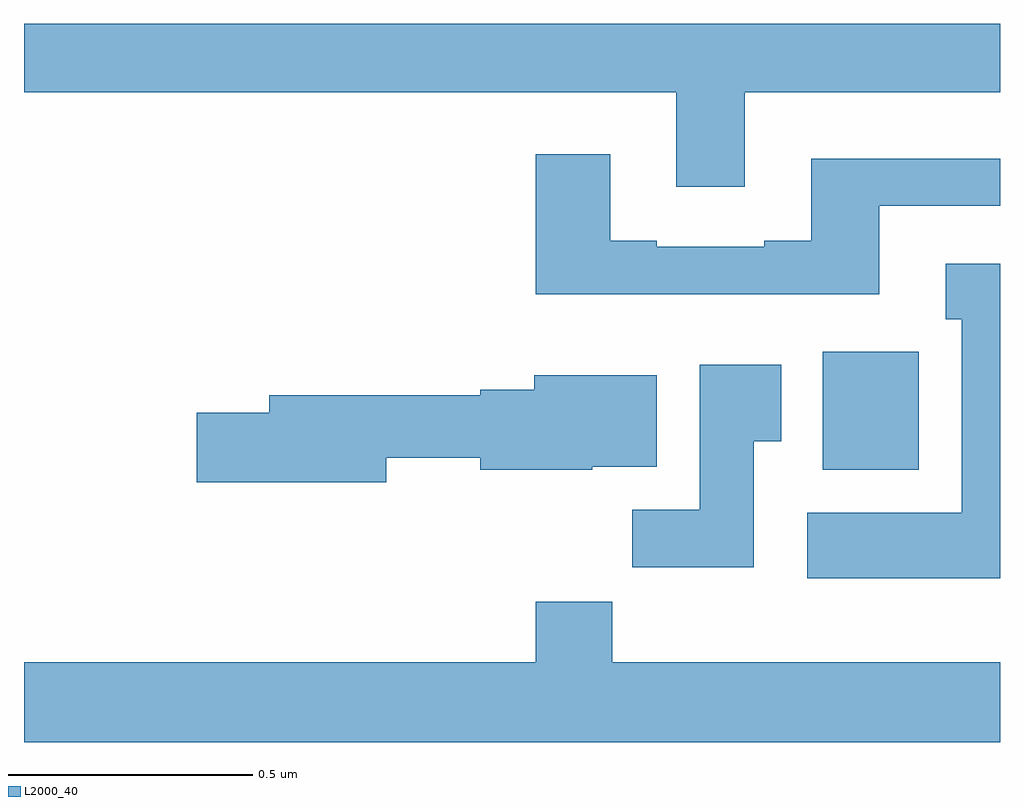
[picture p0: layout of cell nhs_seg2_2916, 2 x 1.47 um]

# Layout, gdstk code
import gdstk
lib = gdstk.Library(unit=1e-6, precision=1e-09)
def R(c, l, rs):  # rectangles x0, y0, x1, y1
    for r in rs: c.add(gdstk.rectangle(r[:2], r[2:], *l))
def P(c, l, *ps):  # polygons
    for p in ps: c.add(gdstk.Polygon(p, *l))
L2000_40 = (2000, 40)

nhs_seg2_2916 = lib.new_cell('nhs_seg2_2916')
R(nhs_seg2_2916, L2000_40, [(148.637,622.886,148.834,623.128)])
P(nhs_seg2_2916, L2000_40, [(147,623.66),(148.337,623.66),(148.337,623.466),(148.477,623.466),(148.477,623.66),(149,623.66),(149,623.8),(147,623.8)],
  [(148.753,623.427),(149,623.427),(149,623.524),(148.613,623.524),(148.613,623.356),(148.517,623.356),(148.517,623.343),(148.297,623.343),(148.297,623.356),(148.201,623.356),(148.201,623.533),(148.049,623.533),(148.049,623.246),(148.753,623.246)],
  [(149,623.308),(148.889,623.308),(148.889,623.195),(148.922,623.195),(148.922,622.798),(148.605,622.798),(148.605,622.664),(149,622.664)],
  [(148.495,622.945),(148.552,622.945),(148.552,623.101),(148.385,623.101),(148.385,622.804),(148.246,622.804),(148.246,622.686),(148.495,622.686)],
  [(147.742,622.911),(147.935,622.911),(147.935,622.886),(148.164,622.886),(148.164,622.892),(148.297,622.892),(148.297,623.08),(148.046,623.08),(148.046,623.05),(147.935,623.05),(147.935,623.039),(147.503,623.039),(147.503,623.003),(147.354,623.003),(147.354,622.861),(147.742,622.861)],
  [(149,622.492),(148.205,622.492),(148.205,622.616),(148.049,622.616),(148.049,622.492),(147,622.492),(147,622.328),(149,622.328)])

lib.write_gds('nhs_seg2_2916.gds')
